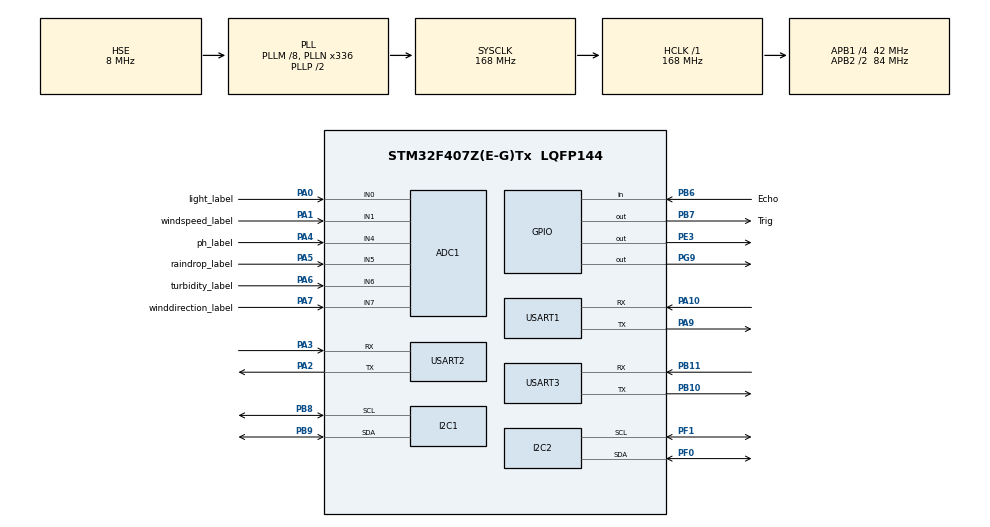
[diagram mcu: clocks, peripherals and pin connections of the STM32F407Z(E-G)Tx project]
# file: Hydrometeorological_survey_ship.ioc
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ADC1.Channel-0\#ChannelRegularConversion=ADC_CHANNEL_0
ADC1.Channel-1\#ChannelRegularConversion=ADC_CHANNEL_1
ADC1.Channel-2\#ChannelRegularConversion=ADC_CHANNEL_4
ADC1.Channel-3\#ChannelRegularConversion=ADC_CHANNEL_5
ADC1.Channel-4\#ChannelRegularConversion=ADC_CHANNEL_6
ADC1.Channel-5\#ChannelRegularConversion=ADC_CHANNEL_7
ADC1.ContinuousConvMode=ENABLE
ADC1.DMAContinuousRequests=ENABLE
ADC1.EOCSelection=ADC_EOC_SINGLE_CONV
ADC1.NbrOfConversion=6
ADC1.NbrOfConversionFlag=1
ADC1.Rank-0\#ChannelRegularConversion=1
ADC1.Rank-1\#ChannelRegularConversion=2
ADC1.Rank-2\#ChannelRegularConversion=3
ADC1.Rank-3\#ChannelRegularConversion=4
ADC1.Rank-4\#ChannelRegularConversion=5
ADC1.Rank-5\#ChannelRegularConversion=6
ADC1.SamplingTime-0\#ChannelRegularConversion=ADC_SAMPLETIME_3CYCLES
ADC1.SamplingTime-1\#ChannelRegularConversion=ADC_SAMPLETIME_3CYCLES
ADC1.SamplingTime-2\#ChannelRegularConversion=ADC_SAMPLETIME_3CYCLES
ADC1.SamplingTime-3\#ChannelRegularConversion=ADC_SAMPLETIME_3CYCLES
ADC1.SamplingTime-4\#ChannelRegularConversion=ADC_SAMPLETIME_3CYCLES
ADC1.SamplingTime-5\#ChannelRegularConversion=ADC_SAMPLETIME_3CYCLES
ADC1.ScanConvMode=ENABLE
ADC1.master=1
Dma.ADC1.0.Direction=DMA_PERIPH_TO_MEMORY
Dma.ADC1.0.FIFOMode=DMA_FIFOMODE_DISABLE
Dma.ADC1.0.Instance=DMA2_Stream0
Dma.ADC1.0.MemDataAlignment=DMA_MDATAALIGN_WORD
Dma.ADC1.0.MemInc=DMA_MINC_ENABLE
Dma.ADC1.0.Mode=DMA_CIRCULAR
Dma.ADC1.0.PeriphDataAlignment=DMA_PDATAALIGN_WORD
Dma.ADC1.0.PeriphInc=DMA_PINC_DISABLE
Dma.ADC1.0.Priority=DMA_PRIORITY_LOW
Dma.Request0=ADC1
Dma.Request1=USART2_RX
Dma.Request2=USART3_RX
Dma.USART2_RX.1.Direction=DMA_PERIPH_TO_MEMORY
Dma.USART2_RX.1.FIFOMode=DMA_FIFOMODE_DISABLE
Dma.USART2_RX.1.Instance=DMA1_Stream5
Dma.USART2_RX.1.MemDataAlignment=DMA_MDATAALIGN_BYTE
Dma.USART2_RX.1.MemInc=DMA_MINC_ENABLE
Dma.USART2_RX.1.Mode=DMA_CIRCULAR
Dma.USART2_RX.1.PeriphDataAlignment=DMA_PDATAALIGN_BYTE
Dma.USART2_RX.1.PeriphInc=DMA_PINC_DISABLE
Dma.USART2_RX.1.Priority=DMA_PRIORITY_LOW
Dma.USART3_RX.2.Direction=DMA_PERIPH_TO_MEMORY
Dma.USART3_RX.2.FIFOMode=DMA_FIFOMODE_DISABLE
Dma.USART3_RX.2.Instance=DMA1_Stream1
Dma.USART3_RX.2.MemDataAlignment=DMA_MDATAALIGN_BYTE
Dma.USART3_RX.2.MemInc=DMA_MINC_ENABLE
Dma.USART3_RX.2.Mode=DMA_CIRCULAR
Dma.USART3_RX.2.PeriphDataAlignment=DMA_PDATAALIGN_BYTE
Dma.USART3_RX.2.PeriphInc=DMA_PINC_DISABLE
Dma.USART3_RX.2.Priority=DMA_PRIORITY_LOW
I2C1.I2C_Mode=I2C_Fast
I2C2.I2C_Mode=I2C_Fast
Mcu.Family=STM32F4
Mcu.Name=STM32F407Z(E-G)Tx
Mcu.Package=LQFP144
NVIC.DMA1_Stream1_IRQn=true\:0\:0\:false\:false\:true\:false\:true\:true
NVIC.DMA1_Stream5_IRQn=true\:0\:0\:false\:false\:true\:false\:true\:true
NVIC.DMA2_Stream0_IRQn=true\:3\:0\:true\:false\:true\:false\:true\:true
NVIC.PriorityGroup=NVIC_PRIORITYGROUP_2
NVIC.USART2_IRQn=true\:0\:0\:true\:true\:true\:1\:true\:true\:true
NVIC.USART3_IRQn=true\:2\:0\:true\:true\:true\:2\:true\:true\:true
PA0-WKUP.GPIO_Label=light_label
PA0-WKUP.Signal=ADCx_IN0
PA1.GPIO_Label=windspeed_label
PA1.Signal=ADCx_IN1
PA10.Mode=Asynchronous
PA10.Signal=USART1_RX
PA13.Mode=Serial_Wire
PA13.Signal=SYS_JTMS-SWDIO
PA14.Mode=Serial_Wire
PA14.Signal=SYS_JTCK-SWCLK
PA2.GPIO_Speed=GPIO_SPEED_FREQ_HIGH
PA2.Mode=Asynchronous
PA2.Signal=USART2_TX
PA3.GPIO_PuPd=GPIO_PULLUP
PA3.GPIO_Speed=GPIO_SPEED_FREQ_HIGH
PA3.Mode=Asynchronous
PA3.Signal=USART2_RX
PA4.GPIO_Label=ph_label
PA4.Signal=ADCx_IN4
PA5.GPIO_Label=raindrop_label
PA5.Signal=ADCx_IN5
PA6.GPIO_Label=turbidity_label
PA6.Signal=ADCx_IN6
PA7.GPIO_Label=winddirection_label
PA7.Signal=ADCx_IN7
PA9.Mode=Asynchronous
PA9.Signal=USART1_TX
PB10.Mode=Asynchronous
PB10.Signal=USART3_TX
PB11.Mode=Asynchronous
PB11.Signal=USART3_RX
PB6.GPIO_Label=Echo
PB6.Signal=GPIO_Input
PB7.GPIO_Label=Trig
PB7.GPIO_PuPd=GPIO_PULLDOWN
PB7.GPIO_Speed=GPIO_SPEED_FREQ_HIGH
PB7.Signal=GPIO_Output
PB8.Mode=I2C
PB8.Signal=I2C1_SCL
PB9.Mode=I2C
PB9.Signal=I2C1_SDA
PE3.Signal=GPIO_Output
PF0.Mode=I2C
PF0.Signal=I2C2_SDA
PF1.Mode=I2C
PF1.Signal=I2C2_SCL
PG9.Signal=GPIO_Output
PH0-OSC_IN.Mode=HSE-External-Oscillator
PH0-OSC_IN.Signal=RCC_OSC_IN
PH1-OSC_OUT.Mode=HSE-External-Oscillator
PH1-OSC_OUT.Signal=RCC_OSC_OUT
ProjectManager.HeapSize=0xC00
ProjectManager.StackSize=0x400
ProjectManager.TargetToolchain=MDK-ARM V5
RCC.48MHZClocksFreq_Value=84000000
RCC.AHBFreq_Value=168000000
RCC.APB1CLKDivider=RCC_HCLK_DIV4
RCC.APB1Freq_Value=42000000
RCC.APB1TimFreq_Value=84000000
RCC.APB2CLKDivider=RCC_HCLK_DIV2
RCC.APB2Freq_Value=84000000
RCC.APB2TimFreq_Value=168000000
RCC.CortexFreq_Value=168000000
RCC.HCLKFreq_Value=168000000
RCC.HSE_VALUE=8000000
RCC.HSI_VALUE=16000000
RCC.LSE_VALUE=32768
RCC.PLLM=8
RCC.PLLN=336
RCC.PLLSourceVirtual=RCC_PLLSOURCE_HSE
RCC.SYSCLKFreq_VALUE=168000000
RCC.SYSCLKSource=RCC_SYSCLKSOURCE_PLLCLK
RCC.VCOOutputFreq_Value=336000000
SH.ADCx_IN0.0=ADC1_IN0,IN0
SH.ADCx_IN1.0=ADC1_IN1,IN1
SH.ADCx_IN4.0=ADC1_IN4,IN4
SH.ADCx_IN5.0=ADC1_IN5,IN5
SH.ADCx_IN6.0=ADC1_IN6,IN6
SH.ADCx_IN7.0=ADC1_IN7,IN7
TIM6.AutoReloadPreload=TIM_AUTORELOAD_PRELOAD_ENABLE
TIM6.Prescaler=83
USART1.VirtualMode=VM_ASYNC
USART2.VirtualMode=VM_ASYNC
USART3.VirtualMode=VM_ASYNC
VP_TIM6_VS_ClockSourceINT.Mode=Enable_Timer
board=custom

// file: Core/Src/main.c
/* USER CODE BEGIN Header */
/**
  ******************************************************************************
  * @file           : main.c
  * @brief          : Main program body
  ******************************************************************************
  * @attention
  *
  * Copyright (c) 2023 STMicroelectronics.
  * All rights reserved.
  *
  * This software is licensed under terms that can be found in the LICENSE file
  * in the root directory of this software component.
  * If no LICENSE file comes with this software, it is provided AS-IS.
  *
  ******************************************************************************
  */
/* USER CODE END Header */
#include "main.h"
#include "adc.h"
#include "dma.h"
#include "i2c.h"
#include "tim.h"
#include "usart.h"
#include "gpio.h"

/* USER CODE BEGIN Includes */
#include "dht11.h"
#include "ds18b20.h"
#include "string.h"
#include "stdio.h"
#include "sys.h"
#include "delay.h"
#include "jy61p.h"
#include "ec20.h"
#include "ms5837iic.h"
#include "MS5837.h"
#include "mpu6050.h"
#include "inv_mpu.h"
#include "inv_mpu_dmp_motion_driver.h"
#include "rtk_parse.h"
/* USER CODE END Includes */

/* USER CODE BEGIN PTD */
 uint8_t temperature; // 温度
 uint8_t humidity;    // 湿度
 uint32_t Adc_buffer[6]; // ADC采集数据缓存
/*
    数组数据
    Adc_buffer[0]  --  水浸传感器
    Adc_buffer[1]  --  风速传感器
    Adc_buffer[2]  --  XXX传感器
    Adc_buffer[3]  --  浊度传感器
    Adc_buffer[4]  --  PH传感器
    Adc_buffer[5]  --  TDS传感器
*/

/* USER CODE END PTD */

/* USER CODE BEGIN PM */

float wind_direction_check(float winddirection);    // 风向检测
void ADC_Process_Function(void);                    // ADC数据处理函数
float turbidity_check(float turbidity);             // 浊度检测
float PH_check(float PH);                           // PH值检测
float tds_check(float tdsvalue);                    // TDS检测
uint8_t check_seepage(float watervo);               // 水渗检测
void HCSR04_Detect(void);                           // 超声波检测
void MPU6050_Detect(void);                          // MPU6050检测
void MS5837_Detect(void);                           // MS5837检测
void Temper_Detect(void);                           // 温度检测
/* USER CODE END PM */

void SystemClock_Config(void);
static void MX_NVIC_Init(void);

int main(void)
{

  /* MCU Configuration--------------------------------------------------------*/

  /* Reset of all peripherals, Initializes the Flash interface and the Systick. */
  HAL_Init();

  /* Configure the system clock */
  SystemClock_Config();

  /* Initialize all configured peripherals */
  MX_GPIO_Init();
  MX_DMA_Init();
  MX_ADC1_Init();
  MX_USART1_UART_Init();
  MX_USART2_UART_Init();
  MX_TIM6_Init();
  MX_I2C1_Init();
  MX_I2C2_Init();
  MX_USART3_UART_Init();

  /* Initialize interrupts */
  MX_NVIC_Init();
  /* USER CODE BEGIN 2 */
    delay_init(168);  // 初始化延时函数
    while(dht11_init())  // 初始化DHT11
    {
        printf("DHT11 init failed!\r\n");
        HAL_Delay(1000);
    }
    while(DS18B20_Init())  // 初始化DS18B20
    {
        printf("DS18B20 init failed!\r\n");
        HAL_Delay(1000);
    }
    MS5837_init();	     //初始化MS5837
    HAL_ADC_Start_DMA(&hadc1,Adc_buffer,6);                 // 启动ADC DMA传输
    HAL_UART_Receive_IT(&huart1, (uint8_t *)&USART1_SingleByte, 1);     // 串口1中断接收
    __HAL_UART_ENABLE_IT(&huart2, UART_IT_IDLE);                        // 串口2使能空闲中断
    HAL_UART_Receive_DMA(&huart2, USART2_RX_BUF, USART2_MAX_RECV_LEN);  // 串口2中断接收  DMA
    __HAL_UART_ENABLE_IT(&huart3, UART_IT_IDLE);                        // 串口3使能空闲中断
    HAL_UART_Receive_DMA(&huart3, USART3_RX_BUF, USART3_MAX_RECV_LEN);  // 串口3中断接收  DMA
    while(EC20_init_check(0) != 0x0F);  // EC20初始化检测
    MPU_Init();  //初始化MPU6050
    while(mpu_dmp_init());  //初始化DMP
    printf1("MPU6050 init Success!\r\n");

  /* USER CODE END 2 */

  /* Infinite loop */
  /* USER CODE BEGIN WHILE */
    while (1)
    {
        Temper_Detect();    // 温度检测
        ADC_Process_Function();   // ADC数据处理函数
        HCSR04_Detect();    // 超声波检测
        MPU6050_Detect();   // MPU6050检测
        MS5837_Detect();    // MS5837检测
        GPS_Analysis();     // GPS数据解析
        Parase_RTK();       // 解析RTK数据
        Mqtt_Senddata();    // MQTT发送数据
        HAL_Delay(1000);          // 延时1s
    /* USER CODE END WHILE */

  }
}

void SystemClock_Config(void)
{
  RCC_OscInitTypeDef RCC_OscInitStruct = {0};
  RCC_ClkInitTypeDef RCC_ClkInitStruct = {0};

  /** Configure the main internal regulator output voltage
  */
  __HAL_RCC_PWR_CLK_ENABLE();
  __HAL_PWR_VOLTAGESCALING_CONFIG(PWR_REGULATOR_VOLTAGE_SCALE1);

  /** Initializes the RCC Oscillators according to the specified parameters
  * in the RCC_OscInitTypeDef structure.
  */
  RCC_OscInitStruct.OscillatorType = RCC_OSCILLATORTYPE_HSE;
  RCC_OscInitStruct.HSEState = RCC_HSE_ON;
  RCC_OscInitStruct.PLL.PLLState = RCC_PLL_ON;
  RCC_OscInitStruct.PLL.PLLSource = RCC_PLLSOURCE_HSE;
  RCC_OscInitStruct.PLL.PLLM = 8;
  RCC_OscInitStruct.PLL.PLLN = 336;
  RCC_OscInitStruct.PLL.PLLP = RCC_PLLP_DIV2;
  RCC_OscInitStruct.PLL.PLLQ = 4;
  if (HAL_RCC_OscConfig(&RCC_OscInitStruct) != HAL_OK)
  {
    Error_Handler();
  }

  /** Initializes the CPU, AHB and APB buses clocks
  */
  RCC_ClkInitStruct.ClockType = RCC_CLOCKTYPE_HCLK|RCC_CLOCKTYPE_SYSCLK
                              |RCC_CLOCKTYPE_PCLK1|RCC_CLOCKTYPE_PCLK2;
  RCC_ClkInitStruct.SYSCLKSource = RCC_SYSCLKSOURCE_PLLCLK;
  RCC_ClkInitStruct.AHBCLKDivider = RCC_SYSCLK_DIV1;
  RCC_ClkInitStruct.APB1CLKDivider = RCC_HCLK_DIV4;
  RCC_ClkInitStruct.APB2CLKDivider = RCC_HCLK_DIV2;

  if (HAL_RCC_ClockConfig(&RCC_ClkInitStruct, FLASH_LATENCY_5) != HAL_OK)
  {
    Error_Handler();
  }
}

/**
  * @brief NVIC Configuration.
  * @retval None
  */
static void MX_NVIC_Init(void)
{
  /* USART2_IRQn interrupt configuration */
  HAL_NVIC_SetPriority(USART2_IRQn, 0, 0);
  HAL_NVIC_EnableIRQ(USART2_IRQn);
  /* USART3_IRQn interrupt configuration */
  HAL_NVIC_SetPriority(USART3_IRQn, 2, 0);
  HAL_NVIC_EnableIRQ(USART3_IRQn);
}

/* USER CODE BEGIN 4 */

void Temper_Detect(void)
{
    /* DHT11 */
    dht11_read_data(&temperature, &humidity);  //读取温湿度
    printf1("temperature: %d, humidity: %d\r\n", temperature, humidity);  //打印温湿度
    /* DS18B20 */
    watertemperature = DS18B20_Get_Temp();
    watertemperature = (watertemperature + 5) / 10;  //水温取整
    printf1("watertemperature: %d\r\n", watertemperature);  //打印水温
}

void MS5837_Detect(void)
{
    MS5837_Getdata();   //获取大气压
}

void HCSR04_Detect(void)  //超声波检测
{
    distance = HCSR04_measure();  //测量距离
    printf1("Distance = %dmm\r\n",distance);   //打印距离
}

void MPU6050_Detect(void)
{
    short aacx,aacy,aacz;			//加速度传感器原始数据
	short gyrox,gyroy,gyroz;		//陀螺仪原始数据
	short temp;						//温度
    while(mpu_dmp_get_data(&pitch, &roll, &yaw));  //获取姿态角
    temp = MPU_Get_Temperature();	//得到温度值
    MPU_Get_Accelerometer(&aacx, &aacy, &aacz);	//得到加速度传感器数据
    MPU_Get_Gyroscope(&gyrox, &gyroy, &gyroz);	//得到陀螺仪数据
    if(temp<0)
    {
        temp = -temp;		//转为正数
        printf1("temp: -%d.%d C\r\n",-temp/100,-temp%10);	//打印温度
    }
    else
    {
        printf1("temp: %d.%d C\r\n",temp/100,temp%10);	//打印温度
    }
    temp = pitch*10;
    if(temp<0)
    {
        temp=-temp;		//转为正数
        printf1("pitch: -%d.%d°\r\n",temp/10,temp%10);	//打印俯仰角
    }
    else
    {
        printf1("pitch: %d.%d°\r\n",temp/10,temp%10);	//打印俯仰角
    }
    temp = roll*10;
    if(temp<0)
    {
        temp=-temp;		//转为正数
        printf1("roll: -%d.%d°\r\n",temp/10,temp%10);	//打印横滚角
    }
    else
    {
        printf1("roll: %d.%d°\r\n",temp/10,temp%10);	//打印横滚角
    }
    temp = yaw*10;
    if(temp<0)
    {
        temp=-temp;		//转为正数
        printf1("yaw: -%d.%d°\r\n",temp/10,temp%10);	//打印航向角
    }
    else
    {
        printf1("yaw: %d.%d°\r\n",temp/10,temp%10);	//打印航向角
    }
}

/**
  * @brief  ADC数据处理函数
  * @param  None
  * @retval None
  */
void ADC_Process_Function(void)
{
    static float temp = 0;
    printf1("水浸传感器: %d    ", Adc_buffer[0]);
    temp = (float)Adc_buffer[0] * 3.3f / 4095.0f;  // 电压值
    seepage = check_seepage(temp);  // 漏水检测
    printf1("seepage: %d\r\n", seepage);

    /* 风速传感器 */
    printf1("风速传感器: %d     ", Adc_buffer[1]);
    temp = (3.3f * (float)Adc_buffer[1] / 4095.0f) * 1000.0f;  // 电压值
    windspeed = 0.027f * temp;  // 风速值
    printf1("风速值: %f\r\n", windspeed);

    /* XX传感器 */
    printf1("XX传感器: %d     \r\n", Adc_buffer[2]);

    /* 浊度传感器 */
    printf1("浊度传感器: %d     ", Adc_buffer[3]);
    temp = (float)Adc_buffer[3] * 3.3f / 4095.0f;  // 电压值
    temp = temp * 100 / 3.3f;  // 浊度值
    turbidity = turbidity_check(temp);  // 浊度值
    printf1("浊度值: %f\r\n", turbidity);

    /* PH传感器 */
    printf1("PH传感器: %d     ", Adc_buffer[4]);
    temp = (float)Adc_buffer[4] * 3.3f / 4095;  // 电压值
    temp = -5.7541 * temp + 16.654;  // PH值
    ph = PH_check(temp);  // PH值
    printf1("PH值: %f\r\n", ph);

    /* TDS传感器 */
    printf1("TDS传感器: %d     ", Adc_buffer[5]);
    temp = (float)Adc_buffer[5] * 3.3f / 4095.0f;  // 电压值
    temp = (float)((float)66.71 * temp * temp * temp - (float)127.93 * temp * temp + (float)428.7 * temp); // TDS值
    tds = tds_check(temp);  // TDS等级
    printf1("TDS等级: %f\r\n", tds);

}

float wind_direction_check(float winddirection)  // 风向阈值检查
{
    if(winddirection > 360)
    {
        winddirection = 360;
    }

    return winddirection;
}

float turbidity_check(float turbidity)  // 浊度阈值检查
{
    if(turbidity > 100)
    {
        turbidity = 100;
    }

    return turbidity;
}

float PH_check(float PH)  // PH阈值检查
{
    if(PH > 14)
    {
        PH = 14;
    }
    else if(PH < 0)
    {
        PH = 0;
    }

    return PH;
}

float tds_check(float tdsvalue)  // TDS等级判断
{
    if(tdsvalue < 0.0f)
    {
        tdsvalue = 0.0f;
    }

    return tdsvalue;
}

uint8_t check_seepage(float watervo)  // 漏水检测
{
    if((double)watervo > 1.6)
    {
        return 0;  // 无漏水
    }
    else
    {
        return 1;  // 有漏水
    }
}

/* USER CODE END 4 */

void Error_Handler(void)
{
  __disable_irq();
  while (1)
  {
  }
}
